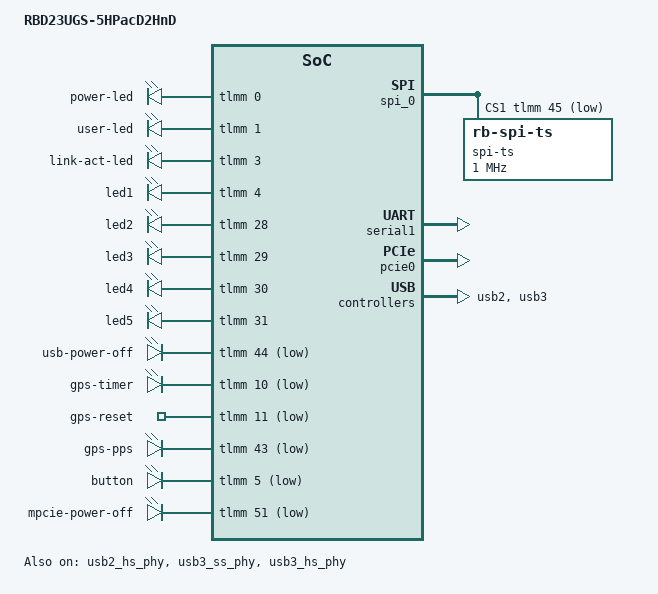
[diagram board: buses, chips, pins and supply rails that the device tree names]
/dts-v1/;

#include "ipq40xx.dtsi"

/ {
	model = "RBD23UGS-5HPacD2HnD";
	leds {
		compatible = "leds-rb";
		power-led {
			gpios = <&tlmm 0 GPIO_ACTIVE_HIGH>;
			default-state = "keep";
		};
		user-led {
			gpios = <&tlmm 1 GPIO_ACTIVE_HIGH>;
		};
		link-act-led {
			gpios = <&tlmm 3 GPIO_ACTIVE_HIGH>;
		};
		led1 {
			gpios = <&tlmm 4 GPIO_ACTIVE_HIGH>;
		};
		led2 {
			gpios = <&tlmm 28 GPIO_ACTIVE_HIGH>;
		};
		led3 {
			gpios = <&tlmm 29 GPIO_ACTIVE_HIGH>;
		};
		led4 {
			gpios = <&tlmm 30 GPIO_ACTIVE_HIGH>;
		};
		led5 {
			gpios = <&tlmm 31 GPIO_ACTIVE_HIGH>;
		};
		usb-power-off {
			gpios = <&tlmm 44 GPIO_ACTIVE_LOW>;
		};
		gps-timer {
			gpios = <&tlmm 10 GPIO_ACTIVE_LOW>;
		};
		gps-reset {
			gpios = <&tlmm 11 GPIO_ACTIVE_LOW>;
		};
		gps-pps {
			gpios = <&tlmm 43 GPIO_ACTIVE_LOW>;
			default-state = "input";
		};
		button {
			gpios = <&tlmm 5 GPIO_ACTIVE_LOW>;
			default-state = "input";
		};
		mpcie-power-off {
			gpios = <&tlmm 51 GPIO_ACTIVE_LOW>;
			default-state = "keep";
		};
	};
};

&tlmm {
	ts_cs_pin: ts_cs_pin_pinmux {
		mux {
			pins = "gpio45";
			function = "gpio";
			bias-disable;
			output-high;
		};
	};
};

&spi_0 {
	num-cs = <2>;
	cs-gpios = <0>, <&tlmm 45 GPIO_ACTIVE_LOW>;

	spi-ts@1 {
		pinctrl-0 = <&ts_cs_pin>;
		pinctrl-names = "default";
		#address-cells = <1>;
		#size-cells = <1>;
		compatible = "rb-spi-ts";
		spi-max-frequency = <1000000>;
		reg = <1>;
	};
};

&tlmm {
	edma_pins: ema_pinmux {
		mux {
			pins = "gpio6", "gpio7";
			function = "mdio";
			bias-disable;
		};
	};
};

&serial1 {
	status = "ok";
};

&edma {
	port_map = < 3 0x20004 (-1)>;
	pinctrl-0 = <&edma_pins>;
	pinctrl-names = "default";
};

&pcie0 {
	persts-gpio = <&tlmm 49 GPIO_ACTIVE_HIGH>;
	status = "ok";
};

&usb2 {
	status = "ok";
};

&usb2_hs_phy {
	status = "ok";
};

&usb3 {
	status = "ok";
};

&usb3_ss_phy {
	status = "ok";
};

&usb3_hs_phy {
	status = "ok";
};
